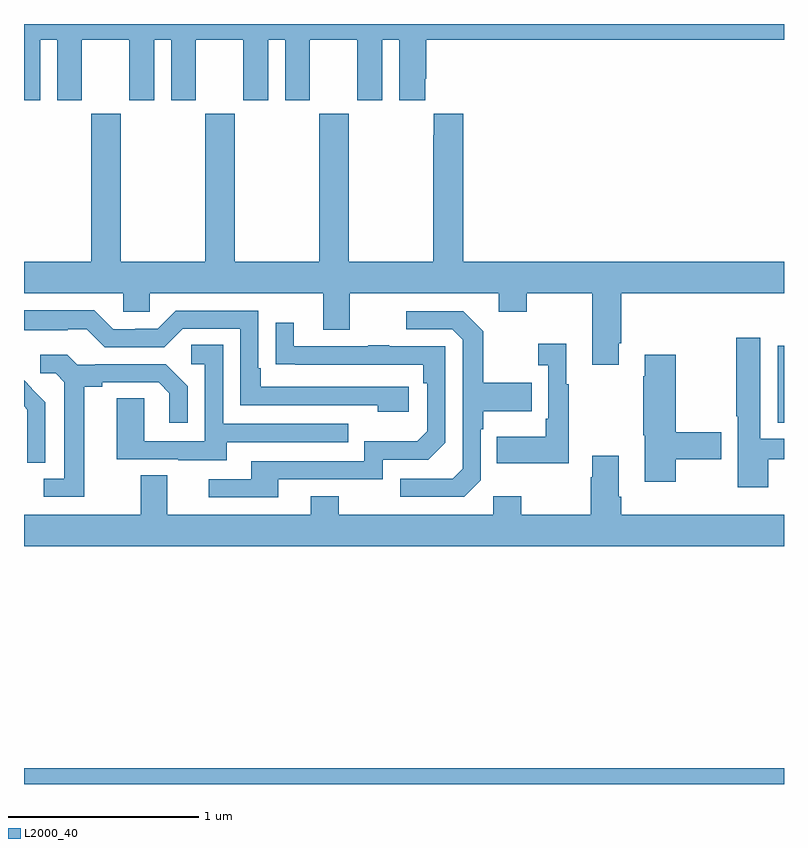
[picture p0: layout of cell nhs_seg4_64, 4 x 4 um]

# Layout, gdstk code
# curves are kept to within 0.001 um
import gdstk
lib = gdstk.Library(unit=1e-6, precision=1e-09)
def R(c, l, rs):  # rectangles x0, y0, x1, y1
    for r in rs: c.add(gdstk.rectangle(r[:2], r[2:], *l))
def P(c, l, *ps):  # polygons
    for p in ps: c.add(gdstk.Polygon(p, *l))
L2000_40 = (2000, 40)

nhs_seg4_64 = lib.new_cell('nhs_seg4_64')
R(nhs_seg4_64, L2000_40, [(113,796.9,117,796.984), (116.966,798.802,117,799.207)])
P(nhs_seg4_64, L2000_40, [(113.086,800.816),(113.174,800.816),(113.174,800.499),(113.305,800.499),(113.305,800.816),(113.555,800.816),(113.555,800.499),(113.686,800.499),(113.686,800.816),(113.774,800.816),(113.774,800.499),(113.905,800.499),(113.905,800.816),(114.155,800.816),(114.155,800.499),(114.286,800.499),(114.286,800.816),(114.374,800.816),(114.374,800.499),(114.505,800.499),(114.505,800.816),(114.755,800.816),(114.755,800.499),(114.886,800.499),(114.886,800.816),(114.974,800.816),(114.974,800.499),(115.111,800.499),(115.111,800.611),(115.118,800.611),(115.118,800.816),(117,800.816),(117,800.9),(113,800.9),(113,800.499),(113.086,800.499)],
  [(116.131,799.219),(116.144,799.219),(116.144,799.484),(117,799.484),(117,799.648),(115.313,799.648),(115.313,800.428),(115.157,800.428),(115.157,800.315),(115.153,800.315),(115.153,799.648),(114.708,799.648),(114.708,800.428),(114.553,800.428),(114.553,799.648),(114.108,799.648),(114.108,800.428),(113.953,800.428),(113.953,799.648),(113.508,799.648),(113.508,800.428),(113.353,800.428),(113.353,799.648),(113,799.648),(113,799.484),(113.523,799.484),(113.523,799.386),(113.661,799.386),(113.661,799.484),(114.575,799.484),(114.575,799.29),(114.715,799.29),(114.715,799.484),(115.499,799.484),(115.499,799.385),(115.647,799.385),(115.647,799.484),(115.991,799.484),(115.991,799.107),(116.131,799.107)],
  [(115.024,798.99),(114.247,798.99),(114.247,799.087),(114.234,799.087),(114.234,799.392),(113.799,799.392),(113.703,799.296),(113.585,799.296),(113.585,799.293),(113.469,799.293),(113.369,799.393),(113,799.393),(113,799.289),(113.231,799.289),(113.231,799.293),(113.331,799.293),(113.424,799.2),(113.739,799.2),(113.835,799.296),(114.138,799.296),(114.138,798.894),(114.863,798.894),(114.863,798.86),(115.024,798.86)],
  [(115.404,798.498),(115.404,798.767),(115.417,798.767),(115.417,798.863),(115.673,798.863),(115.673,799.011),(115.417,799.011),(115.417,799.283),(115.311,799.389),(115.011,799.389),(115.011,799.293),(115.254,799.293),(115.308,799.239),(115.308,798.558),(115.257,798.507),(114.981,798.507),(114.981,798.411),(115.317,798.411)],
  [(114.337,798.504),(114.888,798.504),(114.888,798.606),(115.128,798.606),(115.218,798.696),(115.218,799.203),(114.923,799.203),(114.923,799.208),(114.811,799.208),(114.811,799.203),(114.421,799.203),(114.421,799.327),(114.325,799.327),(114.325,799.108),(115.102,799.107),(115.102,799.01),(115.122,799.01),(115.122,798.756),(115.069,798.703),(114.792,798.703),(114.792,798.6),(114.197,798.6),(114.197,798.504),(113.973,798.504),(113.973,798.408),(114.337,798.408)],
  [(116.917,798.609),(117,798.609),(117,798.717),(116.875,798.717),(116.875,799.249),(116.749,799.249),(116.749,798.835),(116.756,798.835),(116.756,798.462),(116.917,798.462)],
  [(115.867,799.003),(115.855,799.003),(115.855,799.216),(115.707,799.216),(115.707,799.103),(115.758,799.103),(115.758,798.823),(115.746,798.823),(115.746,798.727),(115.489,798.727),(115.489,798.587),(115.867,798.587)],
  [(114.067,798.699),(114.707,798.699),(114.707,798.795),(114.048,798.795),(114.048,799.211),(113.88,799.211),(113.88,799.11),(113.952,799.11),(113.952,798.705),(113.634,798.705),(113.634,798.929),(113.489,798.929),(113.489,798.609),(113.813,798.609),(113.813,798.605),(114.067,798.605)],
  [(113.317,798.992),(113.413,798.992),(113.413,799.014),(113.708,799.014),(113.765,798.957),(113.765,798.801),(113.862,798.801),(113.862,798.994),(113.746,799.11),(113.374,799.11),(113.374,799.107),(113.28,799.107),(113.228,799.159),(113.085,799.159),(113.085,799.062),(113.166,799.062),(113.213,799.015),(113.213,798.507),(113.103,798.507),(113.103,798.411),(113.317,798.411)],
  [(116.43,798.61),(116.671,798.61),(116.671,798.752),(116.43,798.752),(116.43,799.159),(116.267,799.159),(116.267,799.046),(116.26,799.046),(116.26,798.735),(116.267,798.735),(116.267,798.492),(116.43,798.492)],
  [(113.112,798.91),(113.039,798.983),(113.04,798.984),(113,799.024),(113,798.887),(113.018,798.869),(113.018,798.746),(113.016,798.746),(113.016,798.592),(113.112,798.592)],
  [(117,798.316),(116.144,798.316),(116.144,798.412),(116.131,798.412),(116.131,798.628),(115.991,798.628),(115.991,798.515),(115.984,798.515),(115.984,798.316),(115.617,798.316),(115.617,798.415),(115.47,798.415),(115.47,798.316),(114.657,798.316),(114.657,798.415),(114.509,798.415),(114.509,798.316),(113.755,798.316),(113.755,798.524),(113.615,798.524),(113.615,798.316),(113,798.316),(113,798.152),(117,798.152)])

lib.write_gds('nhs_seg4_64.gds')
